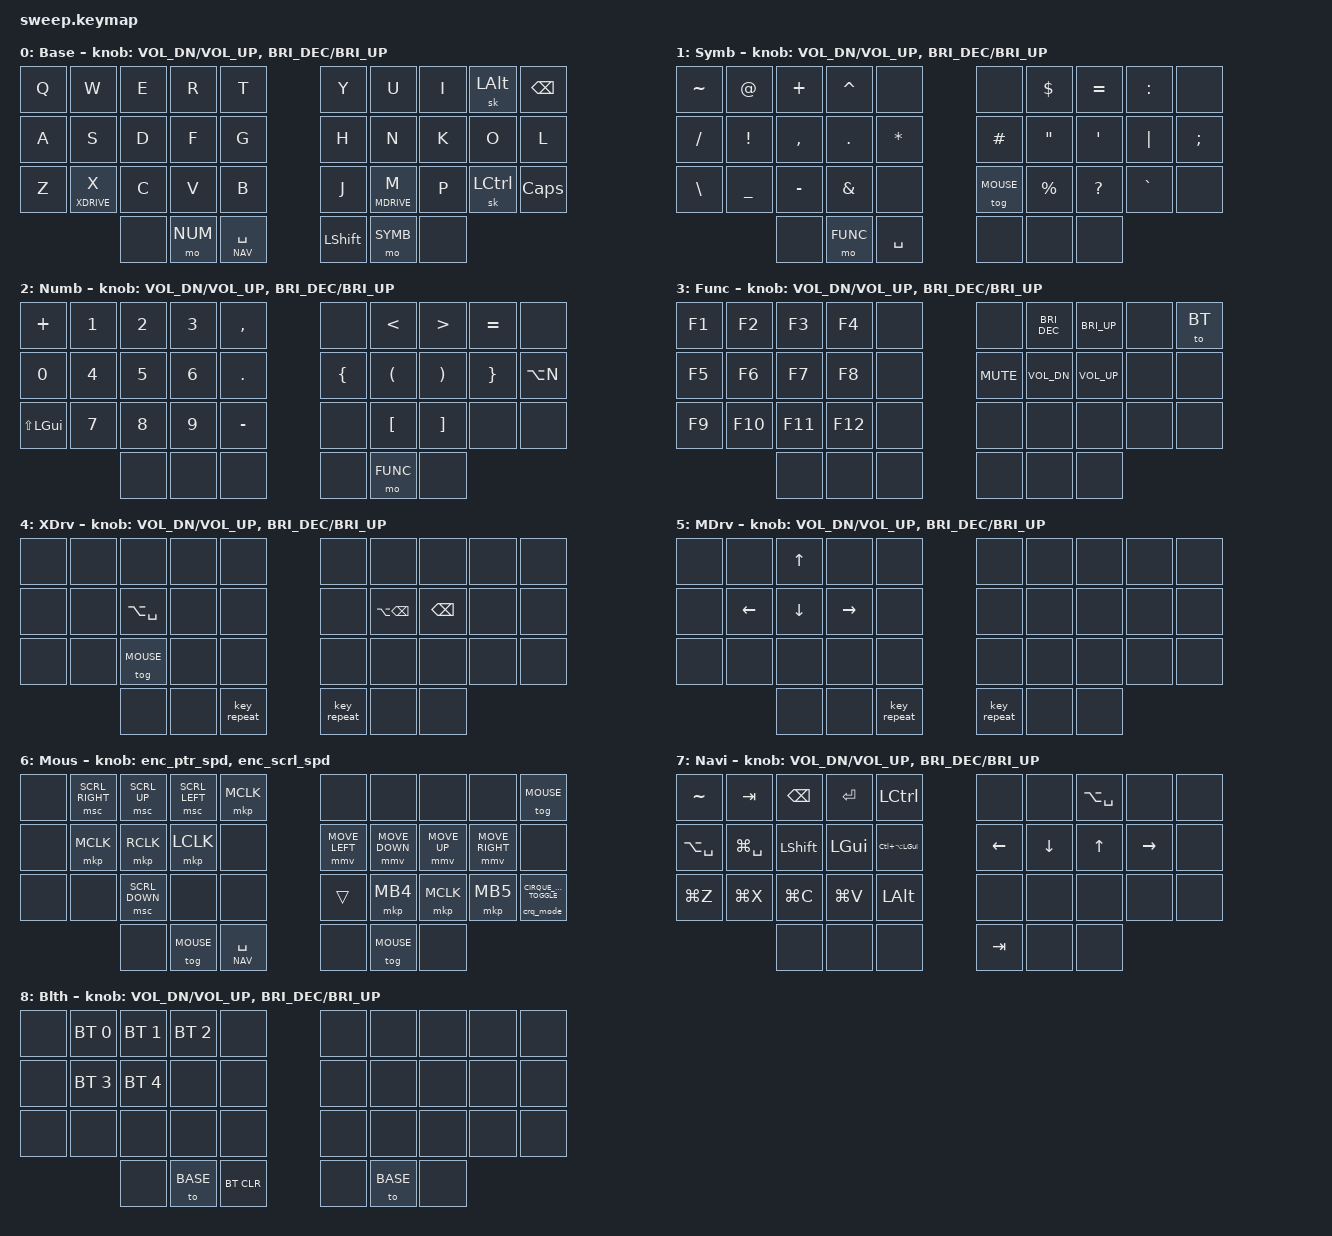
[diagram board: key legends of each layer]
// Copyright (c) 2022 The ZMK Contributors
// SPDX-License-Identifier: MIT

#define ZMK_POINTING_DEFAULT_MOVE_VAL 2500
#define ZMK_POINTING_DEFAULT_SCRL_VAL 20

#include <behaviors.dtsi>
#include <dt-bindings/zmk/bt.h>
#include <dt-bindings/zmk/keys.h>
#include <dt-bindings/zmk/outputs.h>
#include <dt-bindings/zmk/pointing.h>

#include "behaviors/character_map.dtsi"
#include "behaviors/report.dtsi"

// Layers (ported from corne, MSE retained from sweep)
#define BASE   0
#define SYMB   1
#define NUM    2
#define FUNC   3
#define XDRIVE 4
#define MDRIVE 5
#define MOUSE  6
#define NAV    7
#define BT     8

// Pointer / Cirque mode tokens (used by the mouse layer)
#define SPEED_POINTER 0
#define SPEED_SCROLL 1
#define SPEED_PREV 0
#define SPEED_NEXT 1
#define SPEED_RESET 2
#define SPEED_FINE_PREV 3
#define SPEED_FINE_NEXT 4
#define CIRQUE_MODE_RELATIVE 0
#define CIRQUE_MODE_ABSOLUTE 1
#define CIRQUE_MODE_TOGGLE 2

// Sticky-key behavior (ported from corne; used by &sk LALT / &sk LCTRL in Base)
&sk {
	quick-release;
};

&sensors {
	left_encoder {
		triggers-per-rotation = <15>;
	};
	right_encoder {
		triggers-per-rotation = <45>;
	};
};

&glidepoint_listener {
	input-processors = <&pointer_processor 0 0 &drag_scroll_processor 1 8>;
};

/ {
	pointer_processor: pointer_processor {
		compatible = "zmk,input-processor-pointer-speed";
		#input-processor-cells = <2>;
		track-remainders;
		pointer-curve = "adaptive";
		pointer-curve-deadzone = <2>;
		pointer-curve-accel-multiplier = <1>;
		pointer-curve-accel-divisor = <12>;
		pointer-curve-max-delta = <120>;
		one-x-multiplier = <1>;
		one-x-divisor = <1>;
		min-percent = <10>;
		max-percent = <400>;
		initial-speed-position = <50>;
	};

	drag_scroll_processor: drag_scroll_processor {
		compatible = "zmk,input-processor-drag-scroll";
		#input-processor-cells = <2>;
		track-remainders;
		native-wheel-axis = "horizontal-when-enabled";
		scroll-min-step = <1>;
		one-x-multiplier = <1>;
		one-x-divisor = <1>;
		min-percent = <10>;
		max-percent = <1000>;
		initial-speed-position = <50>;
	};

	behaviors {
		/* Tap-hold behaviors ported from corne */
		hm: homerow_mods {
			compatible = "zmk,behavior-hold-tap";
			#binding-cells = <2>;
			tapping-term-ms = <175>;
			quick-tap-ms = <0>;
			flavor = "tap-preferred";
			bindings = <&kp>, <&kp>;
		};
		hltk: holdlayer_tapkey {
			compatible = "zmk,behavior-hold-tap";
			#binding-cells = <2>;
			tapping-term-ms = <175>;
			quick-tap-ms = <0>;
			flavor = "tap-preferred";
			bindings = <&mo>, <&kp>;
		};

		/* Mouse / pointer behaviors (sweep) */
		drgscrl: drag_scroll {
			compatible = "zmk,behavior-drag-scroll";
			#binding-cells = <0>;
		};
		ptr_spd: pointing_speed {
			compatible = "zmk,behavior-pointing-speed";
			#binding-cells = <2>;
		};
		enc_ptr_spd: encoder_pointer_speed {
			compatible = "zmk,behavior-sensor-rotate";
			#sensor-binding-cells = <0>;
			bindings = <&ptr_spd SPEED_POINTER SPEED_PREV>, <&ptr_spd SPEED_POINTER SPEED_NEXT>;
		};
		enc_scrl_spd: encoder_scroll_speed {
			compatible = "zmk,behavior-sensor-rotate";
			#sensor-binding-cells = <0>;
			bindings = <&ptr_spd SPEED_SCROLL SPEED_PREV>, <&ptr_spd SPEED_SCROLL SPEED_NEXT>;
		};
		crq_mode: crqm {
			compatible = "zmk,behavior-cirque-mode";
			#binding-cells = <1>;
		};
		mmv {
			acceleration-exponent = <1>;
			time-to-max-speed-ms = <300>;
			delay-ms = <0>;
		};
		msc {
			acceleration-exponent = <0>;
			time-to-max-speed-ms = <40>;
			delay-ms = <0>;
		};
	};

	combos {
		compatible = "zmk,combos";
    // X + C 
    combo_mouse {
			timeout-ms = <50>;
			key-positions = <21 22>;
			layers = <BASE>;
			bindings = <&to MOUSE>;
    };
		// W + E (left ring + middle, top row)
		combo_tab {
			timeout-ms = <50>;
			key-positions = <1 2>;
			layers = <BASE>;
			bindings = <&kp TAB>;
		};
		// S + D (left ring + middle, home row)
		combo_esc {
			timeout-ms = <50>;
			key-positions = <11 12>;
			layers = <BASE>;
			bindings = <&kp ESC>;
		};
    combo_exit {
 			timeout-ms = <50>;
			key-positions = <11 12>;
			layers = <MOUSE>;
			bindings = <&tog MOUSE>;
   };
		// D + F (left middle + index)
		combo_lgui {
			timeout-ms = <50>;
			key-positions = <12 13>;
			layers = <BASE>;
			bindings = <&kp LGUI>;
		};
		// N + K (right)
		combo_rgui {
			timeout-ms = <50>;
			key-positions = <16 17>;
			layers = <BASE>;
			bindings = <&kp RGUI>;
		};
		// K + O (right)
		combo_backspace {
			timeout-ms = <50>;
			key-positions = <17 18>;
			layers = <BASE>;
			bindings = <&kp BSPC>;
		};
		// P + the Ctrl key to its right (bottom row)
		combo_enter {
			timeout-ms = <50>;
			key-positions = <27 28>;
			layers = <BASE>;
			bindings = <&kp RET>;
		};
	};

	keymap {
		compatible = "zmk,keymap";

		default_layer {
			display-name = "Base";
			bindings = <
			&kp Q &kp W          &kp E &kp R &kp T    &kp Y                &kp U &kp I &sk LALT  &kp BSPC
			&kp A &kp S          &kp D &kp F &kp G    &kp H                &kp N &kp K &kp O     &kp L
			&kp Z &hltk XDRIVE X &kp C &kp V &kp B    &kp J &hltk MDRIVE M &kp P &sk LCTRL &kp CAPS

			&none &mo NUM &hltk NAV SPACE    &kp LSHFT &mo SYMB &none
			>;
			sensor-bindings = <&inc_dec_kp C_VOL_DN C_VOL_UP &inc_dec_kp C_BRI_DEC C_BRI_UP>;
		};

		symbs_layer {
			display-name = "Symb";
			bindings = <
			&kp TILDE &kp AT    &kp PLUS  &kp CARET &none        &none      &kp DLLR  &kp EQUAL &kp COLON &none
			&kp FSLH  &kp EXCL  &kp COMMA &kp DOT   &kp ASTRK    &kp HASH   &kp DQT   &kp SQT   &kp PIPE  &kp SEMI
			&kp BSLH  &kp UNDER &kp MINUS &kp AMPS  &none        &tog MOUSE &kp PRCNT &kp QMARK &kp GRAVE &none

			&none &mo FUNC &kp SPACE    &none &none &none
			>;
			sensor-bindings = <&inc_dec_kp C_VOL_DN C_VOL_UP &inc_dec_kp C_BRI_DEC C_BRI_UP>;
		};

		numbrkt_layer {
			display-name = "Numb";
			bindings = <
			&kp PLUS     &kp N1 &kp N2 &kp N3 &kp COMMA    &none    &kp LT   &kp GT   &kp EQUAL &none
			&kp N0       &kp N4 &kp N5 &kp N6 &kp DOT      &kp LBRC &kp LPAR &kp RPAR &kp RBRC  &kp LA(N)
			&kp LS(LGUI) &kp N7 &kp N8 &kp N9 &kp MINUS    &none    &kp LBKT &kp RBKT &none     &none

			&none &none &none    &none &mo FUNC &none
			>;
			sensor-bindings = <&inc_dec_kp C_VOL_DN C_VOL_UP &inc_dec_kp C_BRI_DEC C_BRI_UP>;
		};

		function_layer {
			display-name = "Func";
			bindings = <
			&kp F1 &kp F2  &kp F3  &kp F4  &none    &none      &kp C_BRI_DEC &kp C_BRI_UP &none &to BT
			&kp F5 &kp F6  &kp F7  &kp F8  &none    &kp C_MUTE &kp C_VOL_DN  &kp C_VOL_UP &none &none
			&kp F9 &kp F10 &kp F11 &kp F12 &none    &none      &none         &none        &none &none

			&none &none &none    &none &none &none
			>;
			sensor-bindings = <&inc_dec_kp C_VOL_DN C_VOL_UP &inc_dec_kp C_BRI_DEC C_BRI_UP>;
		};

    xdrive_layer {
			display-name = "XDrv";
			bindings = <
			&none &none &none         &none &none    &none &none        &none &none &none
			&none &none &kp LA(SPACE) &none &none    &none &kp LA(BSPC) &kp BSPC &none &none
			&none &none &tog MOUSE    &none &none    &none &none        &none &none &none

			&none &none &key_repeat    &key_repeat &none &none
			>;
			sensor-bindings = <&inc_dec_kp C_VOL_DN C_VOL_UP &inc_dec_kp C_BRI_DEC C_BRI_UP>;
    };

    mdrive_layer {
			display-name = "MDrv";
			bindings = <
			&none &none    &kp UP   &none     &none    &none &none &none &none &none
			&none &kp LEFT &kp DOWN &kp RIGHT &none    &none &none &none &none &none
			&none &none    &none    &none     &none    &none &none &none &none &none

			&none &none &key_repeat    &key_repeat &none &none
			>;
			sensor-bindings = <&inc_dec_kp C_VOL_DN C_VOL_UP &inc_dec_kp C_BRI_DEC C_BRI_UP>;
    };

		mouse {
			display-name = "Mous";
			bindings = <
			&none  &msc SCRL_RIGHT &msc SCRL_UP   &msc SCRL_LEFT &mkp MCLK      &none          &none          &none        &none           &tog MOUSE
			&none  &mkp MCLK       &mkp RCLK      &mkp LCLK      &none          &mmv MOVE_LEFT &mmv MOVE_DOWN &mmv MOVE_UP &mmv MOVE_RIGHT &none
			&none  &none           &msc SCRL_DOWN &none          &none          &trans         &mkp MB4       &mkp MCLK    &mkp MB5        &crq_mode CIRQUE_MODE_TOGGLE

			&none &tog MOUSE &hltk NAV SPACE    &none &tog MOUSE &none
			/* &none &kp SPACE &kp LSHIFT    &mkp LCLK &mkp RCLK &none */
			>;
			sensor-bindings = <&enc_ptr_spd &enc_scrl_spd>;
		};

		nav_layer {
			display-name = "Navi";
			bindings = <
			&kp TILDE     &kp TAB       &kp BSPC  &kp RET   &kp LCTRL           &none    &none    &kp LA(SPACE) &none     &none
			&kp LA(SPACE) &kp LG(SPACE) &kp LSHFT &kp LGUI  &kp LC(LA(LGUI))    &kp LEFT &kp DOWN &kp UP        &kp RIGHT &none
			&kp LG(Z)     &kp LG(X)     &kp LG(C) &kp LG(V) &kp LALT            &none    &none    &none         &none     &none

			&none &none &none    &kp TAB &none &none
			>;
			sensor-bindings = <&inc_dec_kp C_VOL_DN C_VOL_UP &inc_dec_kp C_BRI_DEC C_BRI_UP>;
		};

		control_layer {
			display-name = "Blth";
			bindings = <
			&none &bt BT_SEL 0 &bt BT_SEL 1 &bt BT_SEL 2 &none           &none &none &none &none &none
			&none &bt BT_SEL 3 &bt BT_SEL 4 &none        &none           &none &none &none &none &none
			&none &none        &none        &none        &none           &none &none &none &none &none

			&none &to BASE &bt BT_CLR    &none &to BASE &none
			>;
			sensor-bindings = <&inc_dec_kp C_VOL_DN C_VOL_UP &inc_dec_kp C_BRI_DEC C_BRI_UP>;
		};
	};
};
